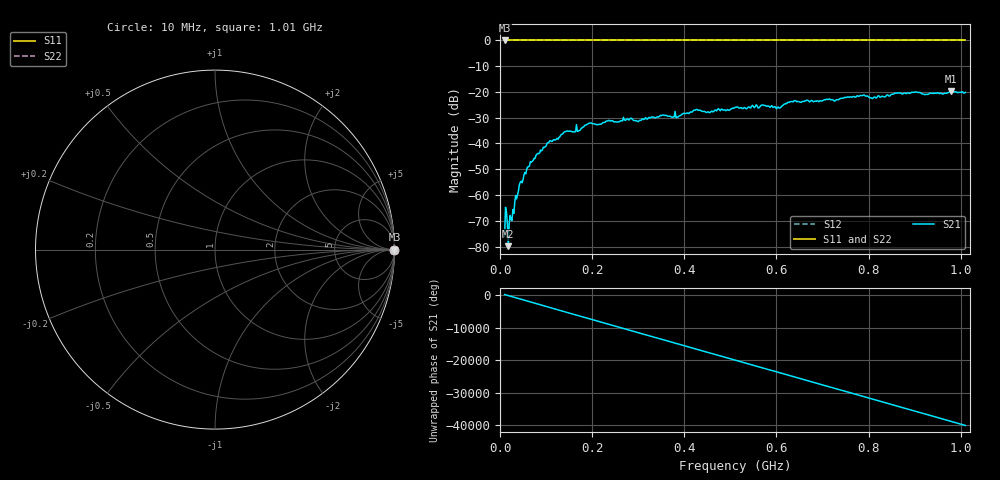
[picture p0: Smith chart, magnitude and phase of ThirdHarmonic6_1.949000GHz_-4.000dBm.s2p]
! 8/16/2025 11:28:02 PM
! C:\ANRITSUVNA\TEMP\TEMP.S2P
! CHANNEL.1
! TR.MEASUREMENT
! RAW.DATA
! RF.CORRECTION.OFF
! AVERAGING.OFF
! IF.BANDWIDTH: 5KHZ
! SWEEPTYPE:  FREQ.SWEEP(Linear)
! Reference Plane Port Info
! PORT:  PORT1  PORT2
! DISTANCE:  0  m  0  m
! TIME:  0  s  0  s
! PHASE.OFFSET:  0  deg.  0  deg.
! LOSS:  0  dB  0  dB
! REF.LOSS:  0  dB  0  dB
! REF.FREQ:  0  Hz  0  Hz
! Power Info
! POWER:  -20  dBm  -20  dBm
! EFF.POWER:  -20  dBm  -20  dBm
! SOURCE.ATTEN:  0  dB  0  dB
! TEST.ATTEN:  0  dB  0  dB
# GHZ S RI R 50.0
! FREQ.GHZ  S11RE  S11IM  S21RE  S21IM  S12RE  S12IM  S22RE  S22IM
!; PortSelection: Port_12
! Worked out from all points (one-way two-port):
!   501 points, 10 MHz to 1.01 GHz, reference 50 ohm
!   highest |S21| = -19.80 dB at 978 MHz (marker M1); lowest = -79.9 dB at 18 MHz (marker M2)
!   lowest |S11| = 0.0 dB at 10 MHz (marker M3)
!   |S11| at or under -10 dB: nowhere
!   |S22| runs from 0.0 to 0.0 dB; largest |S21 - S12| = 1.1
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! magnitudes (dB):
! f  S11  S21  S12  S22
! 10 MHz  0.0  -76.0  0.0  0.0
! 18 MHz  0.0  -79.9  0.0  0.0
! 22 MHz  0.0  -67.9  0.0  0.0
! 24 MHz  0.0  -69.5  0.0  0.0
! 42 MHz  0.0  -56.0  0.0  0.0
! 70 MHz  0.0  -46.9  0.0  0.0
! 106 MHz  0.0  -39.6  0.0  0.0
! 142 MHz  0.0  -35.4  0.0  0.0
! 178 MHz  0.0  -33.9  0.0  0.0
! 194 MHz  0.0  -32.1  0.0  0.0
! 344 MHz  0.0  -29.7  0.0  0.0
! 386 MHz  0.0  -29.8  0.0  0.0
! 424 MHz  0.0  -27.0  0.0  0.0
! 452 MHz  0.0  -27.7  0.0  0.0
! 510 MHz  0.0  -26.0  0.0  0.0
! 572 MHz  0.0  -25.2  0.0  0.0
! 604 MHz  0.0  -25.9  0.0  0.0
! 634 MHz  0.0  -23.7  0.0  0.0
! 678 MHz  0.0  -23.5  0.0  0.0
! 844 MHz  0.0  -21.6  0.0  0.0
! 978 MHz  0.0  -19.8  0.0  0.0
! 1.01 GHz  0.0  -20.2  0.0  0.0
